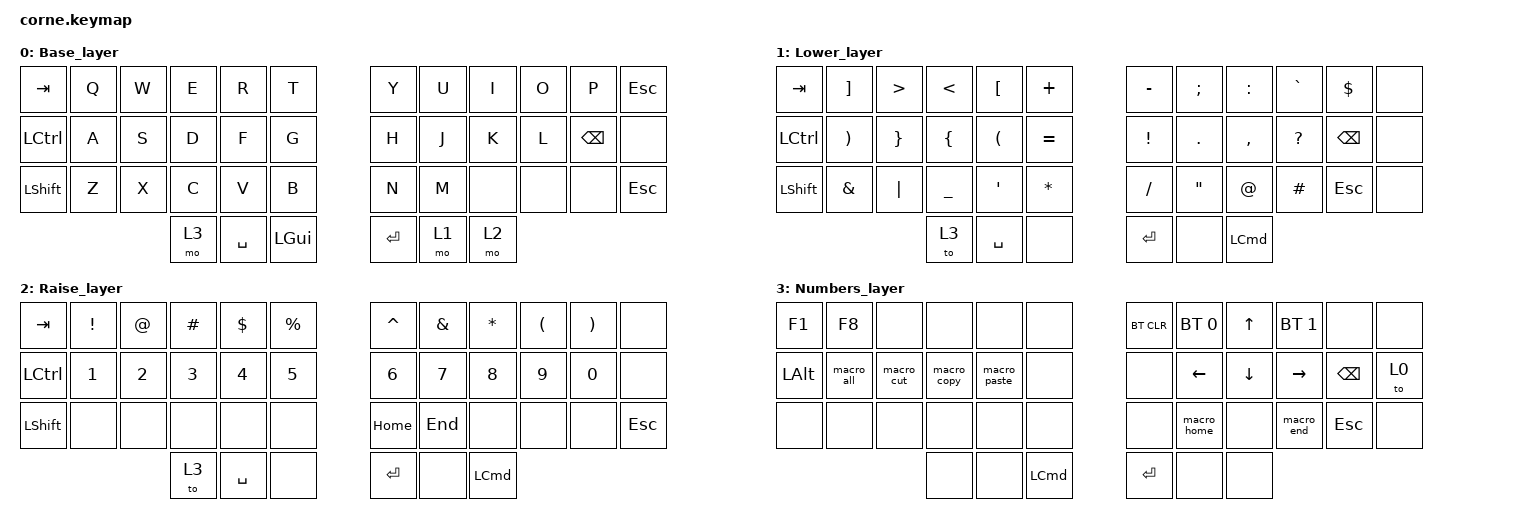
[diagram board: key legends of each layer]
#include <behaviors.dtsi>
#include <dt-bindings/zmk/bt.h>
#include <dt-bindings/zmk/keys.h>

#define BASE 0
#define LOWER 1
#define RAISE 2
#define NUMBERS 3

/ {
    macros {
        macro_copy: macro_copy {
            compatible = "zmk,behavior-macro";
            label = "macro_copy";
            #binding-cells = <0>;
            bindings =
                <&macro_press>,
                <&kp LEFT_GUI>,
                <&macro_tap>,
                <&kp C>,
                <&macro_release>,
                <&kp LEFT_GUI>;
        };

        macro_paste: macro_paste {
            compatible = "zmk,behavior-macro";
            label = "macro_paste";
            #binding-cells = <0>;
            bindings =
                <&macro_press>,
                <&kp LEFT_GUI>,
                <&macro_tap>,
                <&kp V>,
                <&macro_release>,
                <&kp LEFT_GUI>;
        };

        macro_cut: macro_cut {
            compatible = "zmk,behavior-macro";
            label = "macro_cut";
            #binding-cells = <0>;
            bindings =
                <&macro_press>,
                <&kp LEFT_GUI>,
                <&macro_tap>,
                <&kp X>,
                <&macro_release>,
                <&kp LEFT_GUI>;
        };

        macro_all: macro_all {
            compatible = "zmk,behavior-macro";
            label = "macro_all";
            #binding-cells = <0>;
            bindings =
                <&macro_press>,
                <&kp LEFT_GUI>,
                <&macro_tap>,
                <&kp A>,
                <&macro_release>,
                <&kp LEFT_GUI>;
        };

        macro_shake: macro_shake {
            compatible = "zmk,behavior-macro";
            label = "macro_shake";
            #binding-cells = <0>;
            bindings =
                <&macro_press>,
                <&kp LEFT_GUI &kp LEFT_CONTROL>,
                <&macro_tap>,
                <&kp Z>,
                <&macro_release>,
                <&kp LEFT_GUI &kp LEFT_CONTROL>,
                <&macro_press>,
                <&kp LEFT_GUI>,
                <&macro_tap>,
                <&kp M>,
                <&macro_release>,
                <&kp LEFT_GUI>;
        };

        macro_undo: macro_undo {
            compatible = "zmk,behavior-macro";
            label = "macro_undo";
            #binding-cells = <0>;
            bindings =
                <&macro_press>,
                <&kp LEFT_GUI>,
                <&macro_tap>,
                <&kp Z>,
                <&macro_release>,
                <&kp LEFT_GUI>;
        };

        macro_redo: macro_redo {
            compatible = "zmk,behavior-macro";
            label = "macro_redo";
            #binding-cells = <0>;
            bindings =
                <&macro_press>,
                <&kp LEFT_GUI &kp LEFT_SHIFT>,
                <&macro_press>,
                <&kp Z>,
                <&macro_press>,
                <&kp LEFT_GUI &kp LEFT_SHIFT>;
        };

        macro_left: macro_left {
            compatible = "zmk,behavior-macro";
            label = "macro_left";
            #binding-cells = <0>;
            bindings =
                <&macro_press>,
                <&kp LEFT_SHIFT>,
                <&macro_press>,
                <&kp LEFT_ARROW>,
                <&macro_press>,
                <&kp LEFT_SHIFT>;
        };

        macro_right: macro_right {
            compatible = "zmk,behavior-macro";
            label = "macro_right";
            #binding-cells = <0>;
            bindings =
                <&macro_press>,
                <&kp LEFT_SHIFT>,
                <&macro_press>,
                <&kp RIGHT_ARROW>,
                <&macro_press>,
                <&kp LEFT_SHIFT>;
        };

        macro_home: macro_home {
            compatible = "zmk,behavior-macro";
            label = "MACRO_HOME";
            #binding-cells = <0>;
            bindings =
                <&macro_press>,
                <&kp LEFT_COMMAND &kp LEFT>,
                <&macro_release>,
                <&kp LEFT_COMMAND>;

            // Release Cmd
        };

        macro_end: macro_end {
            compatible = "zmk,behavior-macro";
            label = "MACRO_HOME";
            #binding-cells = <0>;
            bindings =
                <&macro_press>,
                <&kp LEFT_COMMAND &kp RIGHT>,
                <&macro_release>,
                <&kp LEFT_COMMAND>;

            // Release Cmd
        };
    };

    keymap {
        compatible = "zmk,keymap";

        Base_layer {
            bindings = <
&kp TAB           &kp Q  &kp W  &kp E  &kp R      &kp T         &kp Y      &kp U  &kp I  &kp O  &kp P          &kp ESC
&kp LEFT_CONTROL  &kp A  &kp S  &kp D  &kp F      &kp G         &kp H      &kp J  &kp K  &kp L  &kp BACKSPACE  &none
&kp LEFT_SHIFT    &kp Z  &kp X  &kp C  &kp V      &kp B         &kp N      &kp M  &none  &none  &none          &kp ESC
                                &mo 3  &kp SPACE  &kp LEFT_GUI  &kp ENTER  &mo 1  &mo 2
            >;
        };

        Lower_layer {
            bindings = <
&kp TAB           &kp RIGHT_BRACKET      &kp GREATER_THAN  &kp LESS_THAN   &kp LEFT_BRACKET      &kp PLUS      &kp MINUS  &kp SEMICOLON      &kp COLON         &kp GRAVE     &kp DOLLAR     &none
&kp LEFT_CONTROL  &kp RIGHT_PARENTHESIS  &kp RIGHT_BRACE   &kp LEFT_BRACE  &kp LEFT_PARENTHESIS  &kp EQUAL     &kp EXCL   &kp PERIOD         &kp COMMA         &kp QUESTION  &kp BACKSPACE  &none
&kp LEFT_SHIFT    &kp AMPERSAND          &kp PIPE          &kp UNDERSCORE  &kp SINGLE_QUOTE      &kp ASTERISK  &kp SLASH  &kp DOUBLE_QUOTES  &kp AT            &kp HASH      &kp ESC        &none
                                                           &to 3           &kp SPACE             &none         &kp ENTER  &none              &kp LEFT_COMMAND
            >;
        };

        Raise_layer {
            bindings = <
&kp TAB           &kp EXCLAMATION  &kp AT_SIGN   &kp HASH      &kp DOLLAR    &kp PERCENT   &kp CARET     &kp AMPERSAND  &kp ASTERISK      &kp LEFT_PARENTHESIS  &kp RIGHT_PARENTHESIS  &none
&kp LEFT_CONTROL  &kp NUMBER_1     &kp NUMBER_2  &kp NUMBER_3  &kp NUMBER_4  &kp NUMBER_5  &kp NUMBER_6  &kp NUMBER_7   &kp NUMBER_8      &kp NUMBER_9          &kp NUMBER_0           &none
&kp LEFT_SHIFT    &none            &none         &none         &none         &none         &kp HOME      &kp END        &none             &none                 &none                  &kp ESC
                                                 &to 3         &kp SPACE     &none         &kp ENTER     &none          &kp LEFT_COMMAND
            >;
        };

        Numbers_layer {
            bindings = <
&kp F1        &kp F8      &none       &none        &none         &none             &bt BT_CLR  &bt BT_SEL 0    &kp UP_ARROW    &bt BT_SEL 1     &none          &none
&kp LEFT_ALT  &macro_all  &macro_cut  &macro_copy  &macro_paste  &none             &none       &kp LEFT_ARROW  &kp DOWN_ARROW  &kp RIGHT_ARROW  &kp BACKSPACE  &to 0
&none         &none       &none       &none        &none         &none             &none       &macro_home     &none           &macro_end       &kp ESC        &none
                                      &none        &none         &kp LEFT_COMMAND  &kp ENTER   &none           &none
            >;
        };
    };
};
